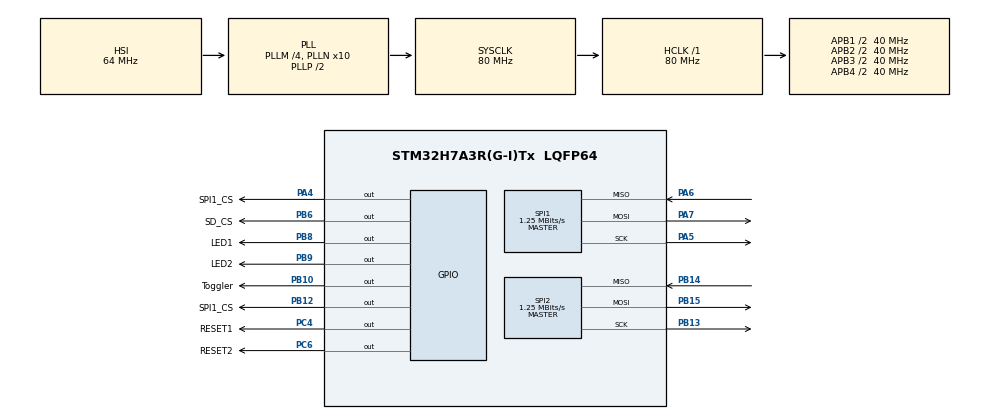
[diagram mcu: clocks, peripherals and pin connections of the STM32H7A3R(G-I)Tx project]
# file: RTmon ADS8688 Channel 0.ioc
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CORTEX_M7.default_mode_Activation=1
Mcu.Family=STM32H7
Mcu.Name=STM32H7A3R(G-I)Tx
Mcu.Package=LQFP64
NVIC.PriorityGroup=NVIC_PRIORITYGROUP_4
NVIC.SPI1_IRQn=true\:0\:0\:false\:false\:true\:true\:true\:true
NVIC.TIM2_IRQn=true\:0\:0\:false\:false\:true\:true\:true\:true
PA13.Mode=Serial_Wire
PA13.Signal=DEBUG_JTMS-SWDIO
PA14.Mode=Serial_Wire
PA14.Signal=DEBUG_JTCK-SWCLK
PA4.GPIO_Label=SPI1_CS
PA4.GPIO_Speed=GPIO_SPEED_FREQ_VERY_HIGH
PA4.Signal=GPIO_Output
PA5.Mode=Full_Duplex_Master
PA5.Signal=SPI1_SCK
PA6.Mode=Full_Duplex_Master
PA6.Signal=SPI1_MISO
PA7.Mode=Full_Duplex_Master
PA7.Signal=SPI1_MOSI
PB10.GPIO_Label=Toggler
PB10.GPIO_Speed=GPIO_SPEED_FREQ_VERY_HIGH
PB10.Signal=GPIO_Output
PB12.GPIO_Label=SPI1_CS
PB12.Signal=GPIO_Output
PB13.Mode=Full_Duplex_Master
PB13.Signal=SPI2_SCK
PB14.Mode=Full_Duplex_Master
PB14.Signal=SPI2_MISO
PB15.Mode=Full_Duplex_Master
PB15.Signal=SPI2_MOSI
PB6.GPIO_Label=SD_CS
PB6.GPIO_Speed=GPIO_SPEED_FREQ_HIGH
PB6.Signal=GPIO_Output
PB8.GPIO_Label=LED1
PB8.Signal=GPIO_Output
PB9.GPIO_Label=LED2
PB9.Signal=GPIO_Output
PC4.GPIO_Label=RESET1
PC4.Signal=GPIO_Output
PC6.GPIO_Label=RESET2
PC6.PinState=GPIO_PIN_SET
PC6.Signal=GPIO_Output
ProjectManager.HeapSize=0x200
ProjectManager.StackSize=0x400
ProjectManager.TargetToolchain=STM32CubeIDE
RCC.ADCFreq_Value=42666666.666666664
RCC.APB1Freq_Value=40000000
RCC.APB2Freq_Value=40000000
RCC.APB3Freq_Value=40000000
RCC.APB4Freq_Value=40000000
RCC.CDPPRE=RCC_APB3_DIV2
RCC.CDPPRE1=RCC_APB1_DIV2
RCC.CDPPRE2=RCC_APB2_DIV2
RCC.CortexFreq_Value=80000000
RCC.DIVM1=4
RCC.DIVM2=4
RCC.DIVN1=10
RCC.DIVN2=8
RCC.DIVP2=3
RCC.DIVR1=3
RCC.HCLKFreq_Value=80000000
RCC.PLL2FRACN=0
RCC.PLL3FRACN=0
RCC.PLLFRACN=0
RCC.SRDPPRE=RCC_APB4_DIV2
RCC.SYSCLKFreq_VALUE=80000000
RCC.SYSCLKSource=RCC_SYSCLKSOURCE_PLLCLK
RCC.USBFreq_Value=80000000
SPI1.BaudRatePrescaler=SPI_BAUDRATEPRESCALER_64
SPI1.CLKPhase=SPI_PHASE_2EDGE
SPI1.CRCCalculation=SPI_CRCCALCULATION_DISABLE
SPI1.CalculateBaudRate=1.25 MBits/s
SPI1.DataSize=SPI_DATASIZE_16BIT
SPI1.Direction=SPI_DIRECTION_2LINES
SPI1.FifoThreshold=SPI_FIFO_THRESHOLD_02DATA
SPI1.MasterReceiverAutoSusp=SPI_MASTER_RX_AUTOSUSP_DISABLE
SPI1.Mode=SPI_MODE_MASTER
SPI1.NSSPMode=SPI_NSS_PULSE_DISABLE
SPI1.VirtualType=VM_MASTER
SPI2.BaudRatePrescaler=SPI_BAUDRATEPRESCALER_64
SPI2.CalculateBaudRate=1.25 MBits/s
SPI2.DataSize=SPI_DATASIZE_16BIT
SPI2.Direction=SPI_DIRECTION_2LINES
SPI2.MasterKeepIOState=SPI_MASTER_KEEP_IO_STATE_DISABLE
SPI2.Mode=SPI_MODE_MASTER
SPI2.NSSPMode=SPI_NSS_PULSE_DISABLE
SPI2.VirtualType=VM_MASTER
TIM2.AutoReloadPreload=TIM_AUTORELOAD_PRELOAD_DISABLE
TIM2.Period=99
TIM2.Prescaler=19
TIM2.TIM_MasterOutputTrigger=TIM_TRGO_UPDATE
VP_MEMORYMAP_VS_MEMORYMAP.Mode=CurAppReg
VP_TIM2_VS_ClockSourceINT.Mode=Internal
board=custom

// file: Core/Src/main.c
/* USER CODE BEGIN Header */
/**
  ******************************************************************************
  * @file           : main.c
  * @brief          : Main program body
  ******************************************************************************
  * @attention
  *
  * Copyright (c) 2026 STMicroelectronics.
  * All rights reserved.
  *
  * This software is licensed under terms that can be found in the LICENSE file
  * in the root directory of this software component.
  * If no LICENSE file comes with this software, it is provided AS-IS.
  *
  ******************************************************************************
  */
/* USER CODE END Header */
#include "main.h"

/* USER CODE BEGIN Includes */
#include "ADS8688.h"
/* USER CODE END Includes */

/* USER CODE BEGIN PM */
#define MAX_SAMPLES 10
#define NUM_CHANNELS 6
/* USER CODE END PM */

SPI_HandleTypeDef hspi1;
SPI_HandleTypeDef hspi2;

TIM_HandleTypeDef htim2;

/* USER CODE BEGIN PV */
uint8_t sample_index = 0;
float voltage[MAX_SAMPLES] = {0};
int16_t chn_0[MAX_SAMPLES] = {0};
uint16_t ADS1 = {0};
float CHN1_Voltage = 0;
uint16_t ADS2[10] = {0};
uint32_t avg =0;
uint32_t sum1 =0;
uint32_t sum2 =0;
uint16_t adc_value[10] ={0};

uint16_t all_channels_raw[channels_enabled];
float all_channels_voltage[channels_enabled];

uint8_t flag =0;

// Destination Arrays
uint16_t ch0_data = 0, ch1_data = 0, ch2_data = 0;
uint16_t ch3_data = 0, ch4_data = 0, ch5_data = 0;

// Map for easy indexing
//uint16_t* channel_map[channels_enabled] = {
//    ch0_data, ch1_data, ch2_data, ch3_data, ch4_data, ch5_data
//};

uint16_t tx_noop[2] = {0x0000, 0x0000};
uint16_t rx_buf[2];
//int i =0;
/* USER CODE END PV */

void SystemClock_Config(void);
static void MPU_Config(void);
static void MX_GPIO_Init(void);
static void MX_SPI1_Init(void);
static void MX_SPI2_Init(void);
static void MX_TIM2_Init(void);

int main(void)
{

  /* MPU Configuration--------------------------------------------------------*/
  MPU_Config();

  /* MCU Configuration--------------------------------------------------------*/

  /* Reset of all peripherals, Initializes the Flash interface and the Systick. */
  HAL_Init();

  /* Configure the system clock */
  SystemClock_Config();

  /* Initialize all configured peripherals */
  MX_GPIO_Init();
  MX_SPI1_Init();
  MX_SPI2_Init();
  MX_TIM2_Init();
  /* USER CODE BEGIN 2 */

	HAL_Delay(100);
	HAL_GPIO_WritePin(Toggler_GPIO_Port, Toggler_Pin, GPIO_PIN_RESET);

//	SCB_InvalidateDCache_by_Addr((uint32_t*)chn_0, sizeof(chn_0));
	// ============ Start Timer in Interrupt Mode ============ //
//	HAL_TIM_Base_Start_IT(&htim2);

  // ========= Hardware Reset ========= //

  	HAL_GPIO_WritePin(RESET1_GPIO_Port, RESET1_Pin, GPIO_PIN_RESET);
  	HAL_Delay(10);
  	HAL_GPIO_WritePin(RESET1_GPIO_Port, RESET1_Pin, GPIO_PIN_SET);
  	HAL_Delay(10); // Wait for boot-up

  	// ========== ADS8688 Init ========== //

  	ADS8688_Init_Sequence(&hspi1, SPI1_CS_GPIO_Port,SPI1_CS_Pin);

  	ADS8688_Write_Command(&hspi1, SPI1_CS_GPIO_Port, SPI1_CS_Pin, ADS8688_CMD_AUTO_RST);

  	HAL_TIM_Base_Start_IT(&htim2);

  	while(!flag);

  	HAL_TIM_Base_Stop_IT(&htim2);

  /* USER CODE END 2 */

  /* Infinite loop */
  /* USER CODE BEGIN WHILE */

//	for(int i = 0; i < MAX_Samples; i++)
//	{
//		chn_0[i] = ADS8688_Read_Ch(&hspi1, SPI1_CS_GPIO_Port, SPI1_CS_Pin);
//		voltage[i] = ((float)chn_0[i] / 65535.0f) * 5.106f;
//	}

while(1) {
	//ADS8688_Read_All_Auto(&hspi1, SPI1_CS_GPIO_Port, SPI1_CS_Pin);

    /* USER CODE END WHILE */

	}
}

void SystemClock_Config(void)
{
  RCC_OscInitTypeDef RCC_OscInitStruct = {0};
  RCC_ClkInitTypeDef RCC_ClkInitStruct = {0};

  /*AXI clock gating */
  RCC->CKGAENR = 0xE003FFFF;

  /** Supply configuration update enable
  */
  HAL_PWREx_ConfigSupply(PWR_LDO_SUPPLY);

  /** Configure the main internal regulator output voltage
  */
  __HAL_PWR_VOLTAGESCALING_CONFIG(PWR_REGULATOR_VOLTAGE_SCALE3);

  while(!__HAL_PWR_GET_FLAG(PWR_FLAG_VOSRDY)) {}

  /** Initializes the RCC Oscillators according to the specified parameters
  * in the RCC_OscInitTypeDef structure.
  */
  RCC_OscInitStruct.OscillatorType = RCC_OSCILLATORTYPE_HSI;
  RCC_OscInitStruct.HSIState = RCC_HSI_DIV1;
  RCC_OscInitStruct.HSICalibrationValue = 64;
  RCC_OscInitStruct.PLL.PLLState = RCC_PLL_ON;
  RCC_OscInitStruct.PLL.PLLSource = RCC_PLLSOURCE_HSI;
  RCC_OscInitStruct.PLL.PLLM = 4;
  RCC_OscInitStruct.PLL.PLLN = 10;
  RCC_OscInitStruct.PLL.PLLP = 2;
  RCC_OscInitStruct.PLL.PLLQ = 2;
  RCC_OscInitStruct.PLL.PLLR = 3;
  RCC_OscInitStruct.PLL.PLLRGE = RCC_PLL1VCIRANGE_3;
  RCC_OscInitStruct.PLL.PLLVCOSEL = RCC_PLL1VCOWIDE;
  RCC_OscInitStruct.PLL.PLLFRACN = 0;
  if (HAL_RCC_OscConfig(&RCC_OscInitStruct) != HAL_OK)
  {
    Error_Handler();
  }

  /** Initializes the CPU, AHB and APB buses clocks
  */
  RCC_ClkInitStruct.ClockType = RCC_CLOCKTYPE_HCLK|RCC_CLOCKTYPE_SYSCLK
                              |RCC_CLOCKTYPE_PCLK1|RCC_CLOCKTYPE_PCLK2
                              |RCC_CLOCKTYPE_D3PCLK1|RCC_CLOCKTYPE_D1PCLK1;
  RCC_ClkInitStruct.SYSCLKSource = RCC_SYSCLKSOURCE_PLLCLK;
  RCC_ClkInitStruct.SYSCLKDivider = RCC_SYSCLK_DIV1;
  RCC_ClkInitStruct.AHBCLKDivider = RCC_HCLK_DIV1;
  RCC_ClkInitStruct.APB3CLKDivider = RCC_APB3_DIV2;
  RCC_ClkInitStruct.APB1CLKDivider = RCC_APB1_DIV2;
  RCC_ClkInitStruct.APB2CLKDivider = RCC_APB2_DIV2;
  RCC_ClkInitStruct.APB4CLKDivider = RCC_APB4_DIV2;

  if (HAL_RCC_ClockConfig(&RCC_ClkInitStruct, FLASH_LATENCY_3) != HAL_OK)
  {
    Error_Handler();
  }
}

static void MX_SPI1_Init(void)
{

  /* SPI1 parameter configuration*/
  hspi1.Instance = SPI1;
  hspi1.Init.Mode = SPI_MODE_MASTER;
  hspi1.Init.Direction = SPI_DIRECTION_2LINES;
  hspi1.Init.DataSize = SPI_DATASIZE_16BIT;
  hspi1.Init.CLKPolarity = SPI_POLARITY_LOW;
  hspi1.Init.CLKPhase = SPI_PHASE_2EDGE;
  hspi1.Init.NSS = SPI_NSS_SOFT;
  hspi1.Init.BaudRatePrescaler = SPI_BAUDRATEPRESCALER_64;
  hspi1.Init.FirstBit = SPI_FIRSTBIT_MSB;
  hspi1.Init.TIMode = SPI_TIMODE_DISABLE;
  hspi1.Init.CRCCalculation = SPI_CRCCALCULATION_DISABLE;
  hspi1.Init.CRCPolynomial = 0x0;
  hspi1.Init.NSSPMode = SPI_NSS_PULSE_DISABLE;
  hspi1.Init.NSSPolarity = SPI_NSS_POLARITY_LOW;
  hspi1.Init.FifoThreshold = SPI_FIFO_THRESHOLD_02DATA;
  hspi1.Init.TxCRCInitializationPattern = SPI_CRC_INITIALIZATION_ALL_ZERO_PATTERN;
  hspi1.Init.RxCRCInitializationPattern = SPI_CRC_INITIALIZATION_ALL_ZERO_PATTERN;
  hspi1.Init.MasterSSIdleness = SPI_MASTER_SS_IDLENESS_00CYCLE;
  hspi1.Init.MasterInterDataIdleness = SPI_MASTER_INTERDATA_IDLENESS_00CYCLE;
  hspi1.Init.MasterReceiverAutoSusp = SPI_MASTER_RX_AUTOSUSP_DISABLE;
  hspi1.Init.MasterKeepIOState = SPI_MASTER_KEEP_IO_STATE_DISABLE;
  hspi1.Init.IOSwap = SPI_IO_SWAP_DISABLE;
  if (HAL_SPI_Init(&hspi1) != HAL_OK)
  {
    Error_Handler();
  }

}

static void MX_SPI2_Init(void)
{

  /* SPI2 parameter configuration*/
  hspi2.Instance = SPI2;
  hspi2.Init.Mode = SPI_MODE_MASTER;
  hspi2.Init.Direction = SPI_DIRECTION_2LINES;
  hspi2.Init.DataSize = SPI_DATASIZE_16BIT;
  hspi2.Init.CLKPolarity = SPI_POLARITY_LOW;
  hspi2.Init.CLKPhase = SPI_PHASE_1EDGE;
  hspi2.Init.NSS = SPI_NSS_SOFT;
  hspi2.Init.BaudRatePrescaler = SPI_BAUDRATEPRESCALER_64;
  hspi2.Init.FirstBit = SPI_FIRSTBIT_MSB;
  hspi2.Init.TIMode = SPI_TIMODE_DISABLE;
  hspi2.Init.CRCCalculation = SPI_CRCCALCULATION_DISABLE;
  hspi2.Init.CRCPolynomial = 0x0;
  hspi2.Init.NSSPMode = SPI_NSS_PULSE_DISABLE;
  hspi2.Init.NSSPolarity = SPI_NSS_POLARITY_LOW;
  hspi2.Init.FifoThreshold = SPI_FIFO_THRESHOLD_01DATA;
  hspi2.Init.TxCRCInitializationPattern = SPI_CRC_INITIALIZATION_ALL_ZERO_PATTERN;
  hspi2.Init.RxCRCInitializationPattern = SPI_CRC_INITIALIZATION_ALL_ZERO_PATTERN;
  hspi2.Init.MasterSSIdleness = SPI_MASTER_SS_IDLENESS_00CYCLE;
  hspi2.Init.MasterInterDataIdleness = SPI_MASTER_INTERDATA_IDLENESS_00CYCLE;
  hspi2.Init.MasterReceiverAutoSusp = SPI_MASTER_RX_AUTOSUSP_DISABLE;
  hspi2.Init.MasterKeepIOState = SPI_MASTER_KEEP_IO_STATE_DISABLE;
  hspi2.Init.IOSwap = SPI_IO_SWAP_DISABLE;
  if (HAL_SPI_Init(&hspi2) != HAL_OK)
  {
    Error_Handler();
  }

}

static void MX_TIM2_Init(void)
{

  TIM_ClockConfigTypeDef sClockSourceConfig = {0};
  TIM_MasterConfigTypeDef sMasterConfig = {0};

  htim2.Instance = TIM2;
  htim2.Init.Prescaler = 19;
  htim2.Init.CounterMode = TIM_COUNTERMODE_UP;
  htim2.Init.Period = 99;
  htim2.Init.ClockDivision = TIM_CLOCKDIVISION_DIV1;
  htim2.Init.AutoReloadPreload = TIM_AUTORELOAD_PRELOAD_DISABLE;
  if (HAL_TIM_Base_Init(&htim2) != HAL_OK)
  {
    Error_Handler();
  }
  sClockSourceConfig.ClockSource = TIM_CLOCKSOURCE_INTERNAL;
  if (HAL_TIM_ConfigClockSource(&htim2, &sClockSourceConfig) != HAL_OK)
  {
    Error_Handler();
  }
  sMasterConfig.MasterOutputTrigger = TIM_TRGO_UPDATE;
  sMasterConfig.MasterSlaveMode = TIM_MASTERSLAVEMODE_DISABLE;
  if (HAL_TIMEx_MasterConfigSynchronization(&htim2, &sMasterConfig) != HAL_OK)
  {
    Error_Handler();
  }

}

static void MX_GPIO_Init(void)
{
  GPIO_InitTypeDef GPIO_InitStruct = {0};

  /* GPIO Ports Clock Enable */
  __HAL_RCC_GPIOA_CLK_ENABLE();
  __HAL_RCC_GPIOC_CLK_ENABLE();
  __HAL_RCC_GPIOB_CLK_ENABLE();

  /*Configure GPIO pin Output Level */
  HAL_GPIO_WritePin(SPI1_CS_GPIO_Port, SPI1_CS_Pin, GPIO_PIN_RESET);

  /*Configure GPIO pin Output Level */
  HAL_GPIO_WritePin(RESET1_GPIO_Port, RESET1_Pin, GPIO_PIN_RESET);

  /*Configure GPIO pin Output Level */
  HAL_GPIO_WritePin(GPIOB, Toggler_Pin|SPI1_CSB12_Pin|SD_CS_Pin|LED1_Pin
                          |LED2_Pin, GPIO_PIN_RESET);

  /*Configure GPIO pin Output Level */
  HAL_GPIO_WritePin(RESET2_GPIO_Port, RESET2_Pin, GPIO_PIN_SET);

  /*Configure GPIO pin : SPI1_CS_Pin */
  GPIO_InitStruct.Pin = SPI1_CS_Pin;
  GPIO_InitStruct.Mode = GPIO_MODE_OUTPUT_PP;
  GPIO_InitStruct.Pull = GPIO_NOPULL;
  GPIO_InitStruct.Speed = GPIO_SPEED_FREQ_VERY_HIGH;
  HAL_GPIO_Init(SPI1_CS_GPIO_Port, &GPIO_InitStruct);

  /*Configure GPIO pins : RESET1_Pin RESET2_Pin */
  GPIO_InitStruct.Pin = RESET1_Pin|RESET2_Pin;
  GPIO_InitStruct.Mode = GPIO_MODE_OUTPUT_PP;
  GPIO_InitStruct.Pull = GPIO_NOPULL;
  GPIO_InitStruct.Speed = GPIO_SPEED_FREQ_LOW;
  HAL_GPIO_Init(GPIOC, &GPIO_InitStruct);

  /*Configure GPIO pin : Toggler_Pin */
  GPIO_InitStruct.Pin = Toggler_Pin;
  GPIO_InitStruct.Mode = GPIO_MODE_OUTPUT_PP;
  GPIO_InitStruct.Pull = GPIO_NOPULL;
  GPIO_InitStruct.Speed = GPIO_SPEED_FREQ_VERY_HIGH;
  HAL_GPIO_Init(Toggler_GPIO_Port, &GPIO_InitStruct);

  /*Configure GPIO pins : SPI1_CSB12_Pin LED1_Pin LED2_Pin */
  GPIO_InitStruct.Pin = SPI1_CSB12_Pin|LED1_Pin|LED2_Pin;
  GPIO_InitStruct.Mode = GPIO_MODE_OUTPUT_PP;
  GPIO_InitStruct.Pull = GPIO_NOPULL;
  GPIO_InitStruct.Speed = GPIO_SPEED_FREQ_LOW;
  HAL_GPIO_Init(GPIOB, &GPIO_InitStruct);

  /*Configure GPIO pin : SD_CS_Pin */
  GPIO_InitStruct.Pin = SD_CS_Pin;
  GPIO_InitStruct.Mode = GPIO_MODE_OUTPUT_PP;
  GPIO_InitStruct.Pull = GPIO_NOPULL;
  GPIO_InitStruct.Speed = GPIO_SPEED_FREQ_HIGH;
  HAL_GPIO_Init(SD_CS_GPIO_Port, &GPIO_InitStruct);

}

/* USER CODE BEGIN 4 */
//void HAL_TIM_PeriodElapsedCallback(TIM_HandleTypeDef *htim) {
//	HAL_GPIO_WritePin(Toggler_GPIO_Port, Toggler_Pin, GPIO_PIN_SET);
//        for (int i = 0; i < channels_enabled; i++) {
//            HAL_GPIO_WritePin(SPI1_CS_GPIO_Port, SPI1_CS_Pin, GPIO_PIN_RESET);
//            HAL_SPI_TransmitReceive(&hspi1, (uint8_t*)tx_noop, (uint8_t*)rx_buf, 2, 1);
//            all_channels_raw[i] = rx_buf[1];
//                //all_channels_voltage[i] = (all_channels_raw[i] / 65535.0f) * 5.106f;
//            HAL_GPIO_WritePin(SPI1_CS_GPIO_Port, SPI1_CS_Pin, GPIO_PIN_SET);
//        }
//    HAL_GPIO_WritePin(Toggler_GPIO_Port, Toggler_Pin, GPIO_PIN_RESET);
//}
void HAL_TIM_PeriodElapsedCallback(TIM_HandleTypeDef *htim) {

	if(sample_index <= MAX_SAMPLES){

	HAL_GPIO_WritePin(Toggler_GPIO_Port, Toggler_Pin, GPIO_PIN_SET);						/* ==== To check time Required for all channels ==== */

	// ======================= Channel 0 Data Read ===============================//
    HAL_GPIO_WritePin(SPI1_CS_GPIO_Port, SPI1_CS_Pin, GPIO_PIN_RESET);
    HAL_SPI_TransmitReceive(&hspi1, (uint8_t*)tx_noop, (uint8_t*)rx_buf, 2, 1);
    ch0_data = rx_buf[1];
        //all_channels_voltage[i] = (all_channels_raw[i] / 65535.0f) * 5.106f;
    HAL_GPIO_WritePin(SPI1_CS_GPIO_Port, SPI1_CS_Pin, GPIO_PIN_SET);

	// ======================= Channel 1 Data Read ===============================//
    HAL_GPIO_WritePin(SPI1_CS_GPIO_Port, SPI1_CS_Pin, GPIO_PIN_RESET);
    HAL_SPI_TransmitReceive(&hspi1, (uint8_t*)tx_noop, (uint8_t*)rx_buf, 2, 1);
    ch1_data = rx_buf[1];
        //all_channels_voltage[i] = (all_channels_raw[i] / 65535.0f) * 5.106f;
    HAL_GPIO_WritePin(SPI1_CS_GPIO_Port, SPI1_CS_Pin, GPIO_PIN_SET);

	// ======================= Channel 2 Data Read ===============================//
    HAL_GPIO_WritePin(SPI1_CS_GPIO_Port, SPI1_CS_Pin, GPIO_PIN_RESET);
    HAL_SPI_TransmitReceive(&hspi1, (uint8_t*)tx_noop, (uint8_t*)rx_buf, 2, 1);
    ch2_data = rx_buf[1];
        //all_channels_voltage[i] = (all_channels_raw[i] / 65535.0f) * 5.106f;
    HAL_GPIO_WritePin(SPI1_CS_GPIO_Port, SPI1_CS_Pin, GPIO_PIN_SET);

	// ======================= Channel 3 Data Read ===============================//
    HAL_GPIO_WritePin(SPI1_CS_GPIO_Port, SPI1_CS_Pin, GPIO_PIN_RESET);
    HAL_SPI_TransmitReceive(&hspi1, (uint8_t*)tx_noop, (uint8_t*)rx_buf, 2, 1);
    ch3_data = rx_buf[1];
        //all_channels_voltage[i] = (all_channels_raw[i] / 65535.0f) * 5.106f;
    HAL_GPIO_WritePin(SPI1_CS_GPIO_Port, SPI1_CS_Pin, GPIO_PIN_SET);

	// ======================= Channel 4 Data Read ===============================//
    HAL_GPIO_WritePin(SPI1_CS_GPIO_Port, SPI1_CS_Pin, GPIO_PIN_RESET);
    HAL_SPI_TransmitReceive(&hspi1, (uint8_t*)tx_noop, (uint8_t*)rx_buf, 2, 1);
    ch4_data = rx_buf[1];
        //all_channels_voltage[i] = (all_channels_raw[i] / 65535.0f) * 5.106f;
    HAL_GPIO_WritePin(SPI1_CS_GPIO_Port, SPI1_CS_Pin, GPIO_PIN_SET);

	// ======================= Channel 5 Data Read ===============================//
    HAL_GPIO_WritePin(SPI1_CS_GPIO_Port, SPI1_CS_Pin, GPIO_PIN_RESET);
    HAL_SPI_TransmitReceive(&hspi1, (uint8_t*)tx_noop, (uint8_t*)rx_buf, 2, 1);
    ch5_data = rx_buf[1];
        //all_channels_voltage[i] = (all_channels_raw[i] / 65535.0f) * 5.106f;
    HAL_GPIO_WritePin(SPI1_CS_GPIO_Port, SPI1_CS_Pin, GPIO_PIN_SET);

    HAL_GPIO_WritePin(Toggler_GPIO_Port, Toggler_Pin, GPIO_PIN_RESET);    					/* ==== To check time Required for all channels ==== */
	sample_index++;
	}
	else{
	flag = 1;
	}
}
/* USER CODE END 4 */

 /* MPU Configuration */

void MPU_Config(void)
{
  MPU_Region_InitTypeDef MPU_InitStruct = {0};

  /* Disables the MPU */
  HAL_MPU_Disable();

  /** Initializes and configures the Region and the memory to be protected
  */
  MPU_InitStruct.Enable = MPU_REGION_ENABLE;
  MPU_InitStruct.Number = MPU_REGION_NUMBER0;
  MPU_InitStruct.BaseAddress = 0x0;
  MPU_InitStruct.Size = MPU_REGION_SIZE_4GB;
  MPU_InitStruct.SubRegionDisable = 0x87;
  MPU_InitStruct.TypeExtField = MPU_TEX_LEVEL0;
  MPU_InitStruct.AccessPermission = MPU_REGION_NO_ACCESS;
  MPU_InitStruct.DisableExec = MPU_INSTRUCTION_ACCESS_DISABLE;
  MPU_InitStruct.IsShareable = MPU_ACCESS_SHAREABLE;
  MPU_InitStruct.IsCacheable = MPU_ACCESS_NOT_CACHEABLE;
  MPU_InitStruct.IsBufferable = MPU_ACCESS_NOT_BUFFERABLE;

  HAL_MPU_ConfigRegion(&MPU_InitStruct);
  /* Enables the MPU */
  HAL_MPU_Enable(MPU_PRIVILEGED_DEFAULT);

}

void Error_Handler(void)
{
  __disable_irq();
  while (1)
  {
  }
}
